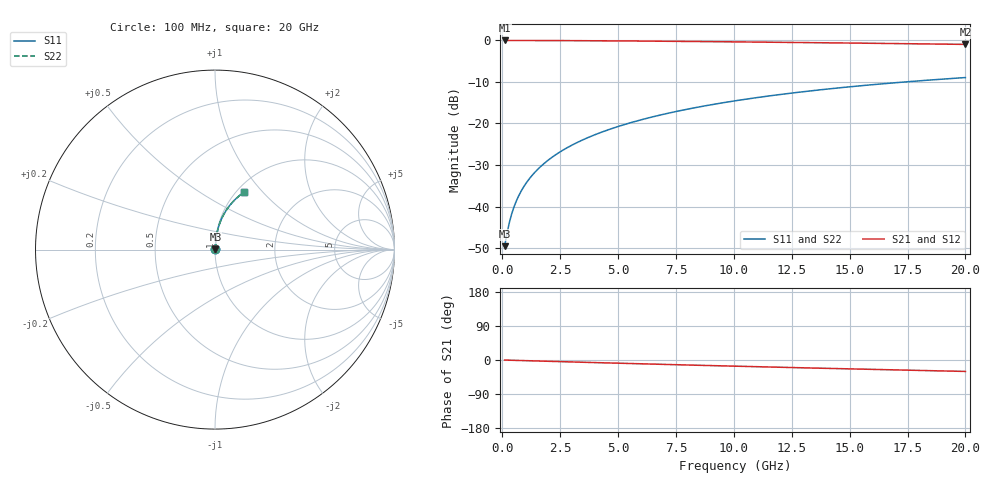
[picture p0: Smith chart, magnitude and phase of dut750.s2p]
! Touchstone file exported from HFSS 2024.1.0
!  File:  C:/UserFiles/LocalFiles/RDL_TSV_Batchsim/temp_RDL_bottom_750_1779859709.aedt
!  Generated:  01:31:21 PM May 27, 2026
!  Design:  RDL_bottom
!  Project:  temp_RDL_bottom_750_1779859709
!  Setup:  Setup1
!  Solution:  Sweep
! Variables:
!  dtsv = 10.80580581um
!  hbump = 3um
!  htsv = 69.35um
!  ldown = 344.35um
!  lrdl = 100um
!  p = 40
!  p1 = 57.9um
!  rhole = 1um
!  t = 450um
!  tdown = 2.81um
!  trdl = 3.915915916um
!  wdown = 17.21um
!  wrdl = 20um
# GHz S MA R 50.000000
! Terminal data exported
! Port[1] = RDL1_T1
! Port[2] = RDL1_T2
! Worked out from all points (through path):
!   200 points, 100 MHz to 20 GHz, reference 50 ohm
!   highest |S21| = -0.02 dB at 100 MHz (marker M1); lowest = -1.0 dB at 20 GHz (marker M2)
!   group delay of S21, straight-line fit = 4.17 ps
!   lowest |S11| = -49.5 dB at 100 MHz (marker M3), VSWR 1.01, Z = 50.3 + j0.191 ohm
!   |S11| at or under -10 dB: start of sweep to 17.41 GHz
!   |S22| runs from -49.5 to -9.0 dB; largest |S21 - S12| = 3.1e-15
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0.1  0.003336 34.8  0.9973 -0.2  0.9973 -0.2  0.003336 34.8
! Gamma 0 0 0 0
! Port Impedance 50 0 50 0
0.2  0.004709 53.6  0.9972 -0.4  0.9972 -0.4  0.004709 53.6
0.3  0.006341 63.1  0.9971 -0.5  0.9971 -0.5  0.006341 63.1
0.4  0.008057 68.4  0.997 -0.7  0.997 -0.7  0.008057 68.4
0.5  0.0098 71.9  0.9969 -0.9  0.9969 -0.9  0.0098 71.9
0.6  0.01155 74.2  0.9968 -1.1  0.9968 -1.1  0.01155 74.2
0.8  0.01507 77.3  0.9965 -1.4  0.9965 -1.4  0.01507 77.3
1.1  0.02038 80.0  0.9962 -1.9  0.9962 -1.9  0.02038 80.0
1.5  0.02751 81.9  0.9956 -2.6  0.9956 -2.6  0.02751 81.9
1.8  0.03289 82.7  0.995 -3.1  0.995 -3.1  0.03289 82.7
2.1  0.03831 83.2  0.9945 -3.6  0.9945 -3.6  0.03831 83.2
2.7  0.04921 83.7  0.993 -4.6  0.993 -4.6  0.04921 83.7
3.5  0.06391 83.8  0.9907 -6.0  0.9907 -6.0  0.06391 83.8
4.2  0.0769 83.5  0.9883 -7.2  0.9883 -7.2  0.0769 83.5
5  0.09187 83.0  0.9852 -8.5  0.9852 -8.5  0.09188 83.0
5.9  0.1088 82.2  0.9812 -9.9  0.9812 -9.9  0.1088 82.2
6.8  0.1259 81.3  0.9769 -11.4  0.9769 -11.4  0.1259 81.3
8.4  0.1562 79.3  0.9686 -13.8  0.9686 -13.8  0.1562 79.3
10.1  0.1881 77.1  0.959 -16.4  0.959 -16.4  0.1881 77.1
13.4  0.2482 72.4  0.9389 -21.2  0.9389 -21.2  0.2482 72.4
16.7  0.3047 67.8  0.9171 -25.8  0.9171 -25.8  0.3047 67.8
20  0.3568 63.3  0.8943 -30.2  0.8943 -30.2  0.3568 63.3
